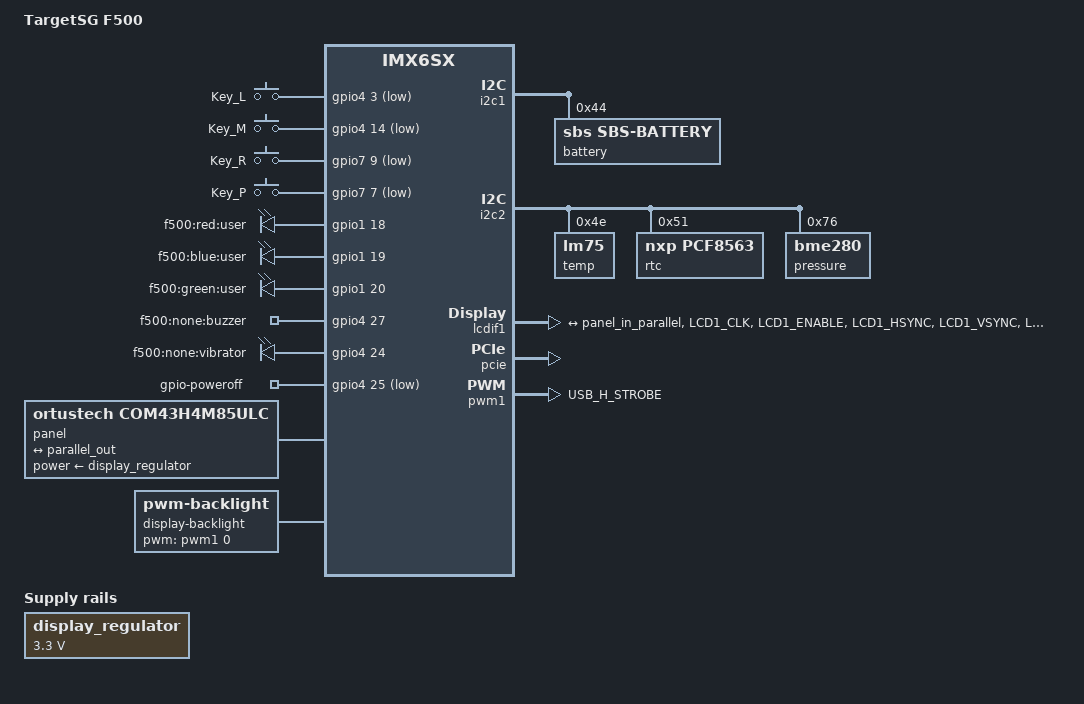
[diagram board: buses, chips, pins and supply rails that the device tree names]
/*
 * Copyright 2016 Marek Vasut <marex@denx.de>
 *
 * This file is dual-licensed: you can use it either under the terms
 * of the GPL or the X11 license, at your option. Note that this dual
 * licensing only applies to this file, and not this project as a
 * whole.
 *
 *  a) This file is free software; you can redistribute it and/or
 *     modify it under the terms of the GNU General Public License as
 *     published by the Free Software Foundation; either version 2 of
 *     the License, or (at your option) any later version.
 *
 *     This file is distributed in the hope that it will be useful,
 *     but WITHOUT ANY WARRANTY; without even the implied warranty of
 *     MERCHANTABILITY or FITNESS FOR A PARTICULAR PURPOSE.  See the
 *     GNU General Public License for more details.
 *
 *     You should have received a copy of the GNU General Public
 *     License along with this file; if not, write to the Free
 *     Software Foundation, Inc., 51 Franklin St, Fifth Floor, Boston,
 *     MA 02110-1301 USA
 *
 * Or, alternatively,
 *
 *  b) Permission is hereby granted, free of charge, to any person
 *     obtaining a copy of this software and associated documentation
 *     files (the "Software"), to deal in the Software without
 *     restriction, including without limitation the rights to use,
 *     copy, modify, merge, publish, distribute, sublicense, and/or
 *     sell copies of the Software, and to permit persons to whom the
 *     Software is furnished to do so, subject to the following
 *     conditions:
 *
 *     The above copyright notice and this permission notice shall be
 *     included in all copies or substantial portions of the Software.
 *
 *     THE SOFTWARE IS PROVIDED "AS IS", WITHOUT WARRANTY OF ANY KIND,
 *     EXPRESS OR IMPLIED, INCLUDING BUT NOT LIMITED TO THE WARRANTIES
 *     OF MERCHANTABILITY, FITNESS FOR A PARTICULAR PURPOSE AND
 *     NONINFRINGEMENT. IN NO EVENT SHALL THE AUTHORS OR COPYRIGHT
 *     HOLDERS BE LIABLE FOR ANY CLAIM, DAMAGES OR OTHER LIABILITY,
 *     WHETHER IN AN ACTION OF CONTRACT, TORT OR OTHERWISE, ARISING
 *     FROM, OUT OF OR IN CONNECTION WITH THE SOFTWARE OR THE USE OR
 *     OTHER DEALINGS IN THE SOFTWARE.
 *
 */

/dts-v1/;

#include "imx6sx-trizeps-vii.dtsi"

/ {
	model = "TargetSG F500";
	compatible = "targetsg,f500", "keithkoep,imx6sx-trizeps-vii", "fsl,imx6sx";

	chosen {
		stdout-path = &uart1;
	};

	keys {
		compatible = "gpio-keys";
		status = "ok";
		pinctrl-names = "default";
		pinctrl-0 = <&pinctrl_keys>;

		left {
			label = "Key_L";
			gpios = <&gpio4 3 GPIO_ACTIVE_LOW>;
			linux,code = <KEY_L>;
		};

		middle {
			label = "Key_M";
			gpios = <&gpio4 14 GPIO_ACTIVE_LOW>;
			linux,code = <KEY_M>;
		};

		right {
			label = "Key_R";
			gpios = <&gpio7 9 GPIO_ACTIVE_LOW>;
			linux,code = <KEY_R>;
		};

		power {
			label = "Key_P";
			gpios = <&gpio7 7 GPIO_ACTIVE_LOW>;
			linux,code = <KEY_P>;
		};

	};

	leds {
		compatible = "gpio-leds";
		pinctrl-names = "default";
		pinctrl-0 = <&pinctrl_leds>;

		user1 {
			label = "f500:red:user";
			gpios = <&gpio1 18 0>;
			linux,state = "off";
		};

		user2 {
			label = "f500:blue:user";
			gpios = <&gpio1 19 0>;
			linux,state = "off";
		};

		user3 {
			label = "f500:green:user";
			gpios = <&gpio1 20 0>;
			default-state = "off";
		};

		buzzer {
			label = "f500:none:buzzer";
			gpios = <&gpio4 27 0>;
			default-state = "off";
		};

		vibra {
			label = "f500:none:vibrator";
			gpios = <&gpio4 24 0>;
			default-state = "off";
		};
	};

	gpio-poweroff {
		compatible = "gpio-poweroff";
		pinctrl-names = "default";
		pinctrl-0 = <&pinctrl_power>;
		gpios = <&gpio4 25 GPIO_ACTIVE_LOW>;
		system-power-controller;
	};

	panel: panel {
		compatible = "ortustech,com43h4m85ulc", "simple-panel";
		power-supply = <&display_regulator>;

		port {
			panel_in_parallel: endpoint {
				remote-endpoint = <&parallel_out>;
			};
		};
	};

	display_regulator: display-regulator-3v3 {
		compatible = "regulator-fixed";
		regulator-name = "display-regulator-3v3";
		regulator-min-microvolt = <3300000>;
		regulator-max-microvolt = <3300000>;
	};

	display-backlight {
		compatible = "pwm-backlight";
		pwms = <&pwm1 0 1000000>;
		pwm-names = "display-backlight";
		brightness-levels = <0 32 64 128 255>;
		default-brightness-level = <4>;

	};
};

&i2c1 {
	battery: sbs-battery@44 {
		compatible = "sbs,sbs-battery";
		reg = <0x44>;
		sbs,i2c-retry-count = <2>;
		sbs,poll-retry-count = <10>;
	};
};

&i2c2 {
	24c02@51 {
		compatible = "microchip,24c02", "at24";
		reg = <0x51>;
		/* This EEPROM is assembly-time option of the SoM */
		status = "disabled";
	};

	accel: bno055@28 {
		compatible = "bno055";
		reg = <0x28>;
		status = "disabled";	/* Controlled by userspace code */
	};

	temp: lm75@4e {
		compatible = "lm75";
		reg = <0x4e>;
	};

	rtc: rtc@51 {
		compatible = "nxp,pcf8563";
		reg = <0x51>;
	};

	pressure: bme280@76 {
		compatible = "bme280";
		reg = <0x76>;
	};
};

&iomuxc {
	imx6sx-f500 {
		pinctrl_backlight: backlightgrp {
			fsl,pins = <
				MX6SX_PAD_USB_H_STROBE__PWM1_OUT	0x10b0
			>;
		};

		pinctrl_lcdif1: lcdif1grp {
			fsl,pins = <
				MX6SX_PAD_LCD1_CLK__LCDIF1_CLK		0x4001b0b0
				MX6SX_PAD_LCD1_ENABLE__LCDIF1_ENABLE	0x4001b0b0
				MX6SX_PAD_LCD1_HSYNC__LCDIF1_HSYNC	0x4001b0b0
				MX6SX_PAD_LCD1_VSYNC__LCDIF1_VSYNC	0x4001b0b0
				MX6SX_PAD_LCD1_DATA00__LCDIF1_DATA_0	0x4001b0b0
				MX6SX_PAD_LCD1_DATA01__LCDIF1_DATA_1	0x4001b0b0
				MX6SX_PAD_LCD1_DATA02__LCDIF1_DATA_2	0x4001b0b0
				MX6SX_PAD_LCD1_DATA03__LCDIF1_DATA_3	0x4001b0b0
				MX6SX_PAD_LCD1_DATA04__LCDIF1_DATA_4	0x4001b0b0
				MX6SX_PAD_LCD1_DATA05__LCDIF1_DATA_5	0x4001b0b0
				MX6SX_PAD_LCD1_DATA06__LCDIF1_DATA_6	0x4001b0b0
				MX6SX_PAD_LCD1_DATA07__LCDIF1_DATA_7	0x4001b0b0
				MX6SX_PAD_LCD1_DATA08__LCDIF1_DATA_8	0x4001b0b0
				MX6SX_PAD_LCD1_DATA09__LCDIF1_DATA_9	0x4001b0b0
				MX6SX_PAD_LCD1_DATA10__LCDIF1_DATA_10	0x4001b0b0
				MX6SX_PAD_LCD1_DATA11__LCDIF1_DATA_11	0x4001b0b0
				MX6SX_PAD_LCD1_DATA12__LCDIF1_DATA_12	0x4001b0b0
				MX6SX_PAD_LCD1_DATA13__LCDIF1_DATA_13	0x4001b0b0
				MX6SX_PAD_LCD1_DATA14__LCDIF1_DATA_14	0x4001b0b0
				MX6SX_PAD_LCD1_DATA15__LCDIF1_DATA_15	0x4001b0b0
				MX6SX_PAD_LCD1_DATA16__LCDIF1_DATA_16	0x4001b0b0
				MX6SX_PAD_LCD1_DATA17__LCDIF1_DATA_17	0x4001b0b0
				MX6SX_PAD_LCD1_DATA18__LCDIF1_DATA_18	0x4001b0b0
				MX6SX_PAD_LCD1_DATA19__LCDIF1_DATA_19	0x4001b0b0
				MX6SX_PAD_LCD1_DATA20__LCDIF1_DATA_20	0x4001b0b0
				MX6SX_PAD_LCD1_DATA21__LCDIF1_DATA_21	0x4001b0b0
				MX6SX_PAD_LCD1_DATA22__LCDIF1_DATA_22	0x4001b0b0
				MX6SX_PAD_LCD1_DATA23__LCDIF1_DATA_23	0x4001b0b0
			>;
		};

		pinctrl_leds: ledsgrp {
			fsl,pins = <
				MX6SX_PAD_CSI_DATA04__GPIO1_IO_18	0x10b0
				MX6SX_PAD_CSI_DATA05__GPIO1_IO_19	0x10b0
				MX6SX_PAD_CSI_DATA06__GPIO1_IO_20	0x10b0
				MX6SX_PAD_QSPI1B_DATA0__GPIO4_IO_24	0x10b0
				MX6SX_PAD_QSPI1B_DATA3__GPIO4_IO_27	0x10b0
			>;
		};

		pinctrl_keys: keysgrp {
			fsl,pins = <
				MX6SX_PAD_NAND_CLE__GPIO4_IO_3		0x10b0
				MX6SX_PAD_NAND_WE_B__GPIO4_IO_14	0x10b0
				MX6SX_PAD_SD3_DATA7__GPIO7_IO_9		0x10b0
				MX6SX_PAD_SD3_DATA5__GPIO7_IO_7		0x10b0
			>;
		};

		pinctrl_power: powergrp {
			fsl,pins = <
				MX6SX_PAD_QSPI1B_DATA1__GPIO4_IO_25	0x10b0
			>;
		};
	};
};

&lcdif1 {
	pinctrl-names = "default";
	pinctrl-0 = <&pinctrl_lcdif1>;
	status = "okay";

	port {
		parallel_out: endpoint {
			remote-endpoint = <&panel_in_parallel>;
		};
	};
};

&pcie {
	status = "okay";
};

&pwm1 {
	pinctrl-names = "default";
	pinctrl-0 = <&pinctrl_backlight>;
};

&usdhc1 {
	status = "disabled";	/* Disable the on-SoM WiFi */
};
